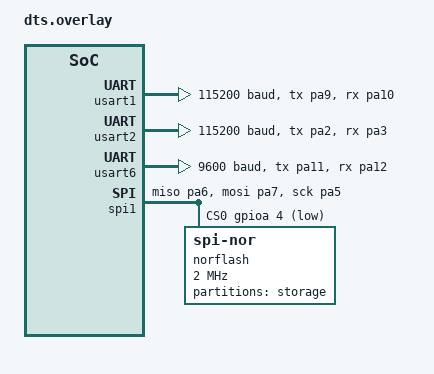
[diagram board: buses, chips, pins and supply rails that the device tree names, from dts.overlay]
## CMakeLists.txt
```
cmake_minimum_required(VERSION 3.13.1)

set(DTS_ROOT ${CMAKE_CURRENT_LIST_DIR})
set(DTC_OVERLAY_FILE ${CMAKE_CURRENT_LIST_DIR}/dts.overlay)

find_package(Zephyr REQUIRED HINTS $ENV{ZEPHYR_BASE})
project(camerapantilt)

target_sources(app PRIVATE src/main.c
                           src/grbl.c
                           src/visca.c
                           src/settings.c)
```

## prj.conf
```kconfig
CONFIG_SYS_CLOCK_TICKS_PER_SEC=10000
CONFIG_FPU=y
CONFIG_NEWLIB_LIBC=y
CONFIG_HEAP_MEM_POOL_SIZE=2048
CONFIG_REBOOT=y

CONFIG_SPI=y
CONFIG_GPIO=y

CONFIG_SHELL=y
CONFIG_SHELL_LOG_BACKEND=y
CONFIG_UART_SHELL_ON_DEV_NAME="UART_2"
CONFIG_LOG=y
CONFIG_LOG2_MODE_DEFERRED=y

CONFIG_MPU_ALLOW_FLASH_WRITE=y
CONFIG_FLASH=y
CONFIG_FLASH_MAP=y
CONFIG_NVS=y
CONFIG_SPI_NOR=y
CONFIG_SPI_NOR_FLASH_LAYOUT_PAGE_SIZE=4096
CONFIG_SPI_NOR_SFDP_MINIMAL=y
#CONFIG_SETTINGS=y
#CONFIG_SETTINGS_NVS=y
```

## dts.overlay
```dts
/ {
	chosen {
		zephyr,console = &usart2;
		zephyr,shell-uart = &usart2;
		zephyr,code-partition=&main_partition;
		zephyr,storage-partition=&scratch_partition;
	};
};

&usart1 {
	pinctrl-0 = <&usart1_tx_pa9 &usart1_rx_pa10>;
	current-speed = <115200>;
	/delete-property/ hw-flow-control;
	status = "okay";
};

&usart2 {
	pinctrl-0 = <&usart2_tx_pa2 &usart2_rx_pa3>;
	current-speed = <115200>;
	/delete-property/ hw-flow-control;
	status = "okay";
};

&usart6{
	pinctrl-0 = <&usart6_tx_pa11 &usart6_rx_pa12>;
	current-speed = <9600>;
	/delete-property/ hw-flow-control;
	status = "okay";
};

&flash0 {
	/delete-property/ partitions;
	partitions {
		compatible = "fixed-partitions";
		#address-cells = <1>;
		#size-cells = <1>;

		main_partition: partition@0 {
			label = "mainpart";
			reg = <0x00000000 0x00080000>;
			read-only;
		};
	};
};

&spi1 {
	pinctrl-0 = <&spi1_miso_pa6 &spi1_mosi_pa7 &spi1_sck_pa5>;
	status = "okay";
	cs-gpios = <&gpioa 4 GPIO_ACTIVE_LOW>;

	norflash: norflash@0 {
		status = "okay";
		compatible = "jedec,spi-nor";
		reg = <0>;
		label = "norflash";
		spi-max-frequency = <2000000>;
		size = <33554432>;
		jedec-id = [BF 25 4A];
		has-lock = <0xFF>;
	};
};


&norflash {
	partitions {
		compatible = "fixed-partitions";
		#address-cells = <1>;
		#size-cells = <1>;
		storage_partition: partition@0 {
			label = "storage";
			reg = <0x0 0x3D0900>;
		};
	};
};
```

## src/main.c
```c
/*
 * camera pantilt controller
 *
 * Copyright (c) Thomas Schmid, 2021
 *
 * Authors:
 *  Thomas Schmid <tom@lfence.de>
 *
 * This work is licensed under the terms of the GNU GPL, version 3.  See
 * the LICENSE file in the top-level directory.
 */

#include <zephyr.h>
#include <logging/log.h>
#include <drivers/uart.h>
#include <sys/ring_buffer.h>
#include <settings/settings.h>
#include "visca.h"
#include "grbl.h"
#include "math.h"
#include "settings.h"

RING_BUF_DECLARE(visca_rxbuf, 64);

K_FIFO_DEFINE(visca_cmd_fifo);
LOG_MODULE_REGISTER(camerapantilt, CONFIG_LOG_DEFAULT_LEVEL);

enum visca_parser_state {
	WAIT_FOR_ADDR,
	READ_DATA,
	READ_ENDFRAME,
};

static enum visca_parser_state parser_state = WAIT_FOR_ADDR;
static struct visca_packet_raw received_packet;
static bool jog_active;
static int pan_speed, tilt_speed;
static float xstep, ystep;
static char cmd_buffer[128];

const struct SettingData defaultSetting = { .pos = { .x = 0, .y = 0, .z = 0 } };

struct SettingData currentSetting;

void visca_uart_irq_rx(const struct device *dev)
{
	uint8_t *buffer;
	uint32_t bsize =
		ring_buf_put_claim(&visca_rxbuf, &buffer, visca_rxbuf.size);
	int rsize = uart_fifo_read(dev, buffer, bsize);
	ring_buf_put_finish(&visca_rxbuf, rsize);
	uint32_t numreceived = ring_buf_capacity_get(&visca_rxbuf) -
			       ring_buf_space_get(&visca_rxbuf);

	for (int i = 0; i < numreceived; i++) {
		if (parser_state == WAIT_FOR_ADDR) {
			ring_buf_get(&visca_rxbuf, &received_packet.addr, 1);
			if (received_packet.addr < 0x81 ||
			    received_packet.addr > 0x88) {
				continue;
			}
			parser_state = READ_DATA;
			received_packet.length = 0;
			continue;
		}

		if (parser_state == READ_DATA) {
			uint8_t data;
			ring_buf_get(&visca_rxbuf, &data, 1);

			if (data == 0xFF) {
				parser_state = WAIT_FOR_ADDR;
				struct visca_command *visca_cmd =
					k_malloc(sizeof(struct visca_command));

				if (visca_cmd == NULL) {
					LOG_ERR("out of memory. Dropping packets");
					continue;
				}

				if (visca_raw_packet_to_command(
					    &received_packet, visca_cmd) != 0) {
					LOG_INF("unable to parse visca command");
					k_free(visca_cmd);
					continue;
				}

				if (k_fifo_alloc_put(&visca_cmd_fifo,
						     visca_cmd) != 0) {
					LOG_ERR("unable to allocate memory for fifo element");
					k_free(visca_cmd);
				}
				continue;
			}

			received_packet.length++;
			received_packet.data[received_packet.length - 1] = data;
		}
	}
}

void visca_uart_callback(const struct device *dev, void *user_data)
{
	while (uart_irq_update(dev) && uart_irq_is_pending(dev)) {
		if (uart_irq_rx_ready(dev)) {
			visca_uart_irq_rx(dev);
		}
	}
}

void grbl_worker()
{
	bool last_jog = false;

	while (true) {
		if (last_jog != jog_active) {
			if (!jog_active) {
				grbl_send_byte_no_ack(0x85);
			}
			last_jog = jog_active;
		}

		if (jog_active) {
			char jogcmd[64];
			float speed = 0.01;

			snprintk(jogcmd, ARRAY_SIZE(jogcmd),
				 "$J=G91 X%fY%f F%f\n", -ystep * 0.01,
				 -xstep * 0.01, speed);
			grbl_send_command(jogcmd);
		} else {
			k_sleep(K_MSEC(50));
		}
	}
}

void main(void)
{
	const struct device *visca_dev = device_get_binding("UART_6");
	const struct device *grbl_dev = device_get_binding("UART_1");

	if (visca_dev == NULL) {
		LOG_ERR("unable to get uart_device");
		return;
	}

	if (grbl_dev == NULL) {
		LOG_ERR("unable to get grbl serial port");
		return;
	}

	const struct uart_config grbl_uart_config = {
		.baudrate = 115200,
		.data_bits = UART_CFG_DATA_BITS_8,
		.flow_ctrl = UART_CFG_FLOW_CTRL_NONE,
		.parity = UART_CFG_PARITY_NONE,
		.stop_bits = UART_CFG_STOP_BITS_1
	};

	const struct uart_config visa_uart_config = {
		.baudrate = 9600,
		.data_bits = UART_CFG_DATA_BITS_8,
		.flow_ctrl = UART_CFG_FLOW_CTRL_NONE,
		.parity = UART_CFG_PARITY_NONE,
		.stop_bits = UART_CFG_STOP_BITS_1
	};

	if (uart_configure(grbl_dev, &grbl_uart_config) != 0) {
		LOG_ERR("unable to configure uart for grbl");
		return;
	}

	if (uart_configure(visca_dev, &visa_uart_config) != 0) {
		LOG_ERR("unable to configure uart for visca");
		return;
	}

	setting_init();
	memcpy(&currentSetting, &defaultSetting, sizeof(struct SettingData));

	/* Visca serial connection */
	uart_irq_callback_set(visca_dev, visca_uart_callback);
	uart_irq_rx_enable(visca_dev);

	grbl_initialize(grbl_dev);
	grbl_send_command("\r\n\r\n"); /* Wake up grbl */

	LOG_INF("start homing");
	grbl_send_command("$H\n"); /* Run a homing cycle */

	//grbl_send_command("$X\n");
	grbl_send_command("$10=1\n");
	grbl_send_command("$#\n");
	grbl_send_command("G54\n");
	grbl_send_command("G0 X0 Y0\n");

	LOG_INF("ready");
	while (1) {
		struct visca_command *cmd =
			k_fifo_get(&visca_cmd_fifo, K_FOREVER);
		LOG_INF("received visca packet");
		if (cmd == NULL) {
			goto OUT;
		}

		if (cmd->cmd == PTD_ABS || cmd->cmd == PTD_REL) {
			if (jog_active) {
				jog_active = false;
				k_sleep(K_MSEC(
					100)); // wait some time to make sure jog is aborted
			}

			if (cmd->cmd == PTD_ABS) {
				grbl_send_command(
					"G90\n"); /* asolute position mode */
			} else {
				grbl_send_command(
					"G91\n"); /* relative position mode */
			}

			snprintk(cmd_buffer, ARRAY_SIZE(cmd_buffer),
				 "G0 X%fY%f\n",
				 cmd->payload.ptd_abs_motion.pan_pos / 1000.0,
				 cmd->payload.ptd_abs_motion.tilt_pos / 1000.0);

			grbl_send_command(cmd_buffer);
			goto OUT;
		}

		/* Check if jog command */
		if (cmd->cmd == PTD_DOWN || cmd->cmd == PTD_DOWNLEFT ||
		    cmd->cmd == PTD_DOWNRIGHT || cmd->cmd == PTD_UP ||
		    cmd->cmd == PTD_UPLEFT || cmd->cmd == PTD_UPRIGHT ||
		    cmd->cmd == PTD_LEFT || cmd->cmd == PTD_RIGHT ||
		    cmd->cmd == PTD_STOP) {
			pan_speed = cmd->payload.ptd_jog_motion.pan_speed;
			tilt_speed = cmd->payload.ptd_jog_motion.titlt_speed;

			if (cmd->cmd != PTD_STOP) {
				jog_active = true;
			} else {
				jog_active = false;
				grbl_send_byte_no_ack(0x85);
			}

			switch (cmd->cmd) {
			case PTD_UP:
				xstep = 0;
				ystep = 1;
				break;
			case PTD_DOWN:
				xstep = 0;
				ystep = -1;
				break;
			case PTD_LEFT:
				xstep = -1;
				ystep = 0;
				break;
			case PTD_RIGHT:
				xstep = 1;
				ystep = 0;
				break;
			case PTD_UPLEFT:
				xstep = -1;
				ystep = 1;
				break;
			case PTD_UPRIGHT:
				xstep = 1;
				ystep = 1;
				break;
			case PTD_DOWNLEFT:
				xstep = -1;
				ystep = -1;
				break;
			case PTD_DOWNRIGHT:
				xstep = 1;
				ystep = -1;
				break;
			default:
				xstep = 0;
				ystep = 0;
				break;
			}
		}

		if (cmd->cmd == PTD_HOME) {
			grbl_send_command("$H\n");
			goto OUT;
		}

		if (cmd->cmd == PTD_RESET) {
			grbl_send_command("$X\n");
			goto OUT;
		}

		if (cmd->cmd == CAM_MEMORY_RECALL) {
			LOG_INF("memory recall");
			currentSetting.pos = grbl_get_state().pos_act;
			setting_get(cmd->payload.cam_memory.memory_slot,
				    &currentSetting);
			//grbl_send_command(cmd_buffer);
			goto OUT;
		}

		if (cmd->cmd == CAM_MEMORY_SET) {
			LOG_INF("memory set");
			currentSetting.pos = grbl_get_state().pos_act;
			setting_set(cmd->payload.cam_memory.memory_slot,
				    &currentSetting);
		}

	OUT:
		k_free(cmd);
	}
}

K_THREAD_DEFINE(grbl_worker_thread, 1024, grbl_worker, NULL, NULL, NULL, -1, 0,
		0);
```

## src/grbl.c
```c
#include "grbl.h"
#include "zephyr.h"
#include <string.h>
#include <logging/log.h>
#include <drivers/uart.h>
#include <sys/ring_buffer.h>
#include <stdlib.h>

LOG_MODULE_REGISTER(grbl, CONFIG_LOG_DEFAULT_LEVEL);

RING_BUF_DECLARE(grbl_tx_buf, 512);
RING_BUF_DECLARE(grbl_rx_buf, 512);

K_FIFO_DEFINE(grbl_cmd_fifo);
K_FIFO_DEFINE(grbl_receive_fifo);

K_CONDVAR_DEFINE(grbl_new_response_condvar);
K_MUTEX_DEFINE(grbl_cmd_mutex);

K_THREAD_STACK_DEFINE(grbl_receive_stack, 2048);

/* This timer sends a regular status report realtime command to grbl */
static void grbl_report_timer_expr(struct k_timer *dummy);
K_TIMER_DEFINE(report_timer, grbl_report_timer_expr, NULL);

static const struct device *grbl_dev;
struct k_thread grbl_receive_thread_data;

struct WorkOffset {
	int wco_num;
	struct Position offset;
};

struct GrblState currentState = { 0 };

static struct WorkOffset workOffsets[5] = { 0 };

enum grbl_message {
	GRBL_OK,
	GRBL_REPORT,
	GRBL_ERROR,
	GRBL_ALARM,
	GRBL_FEEDBACK,
	GRBL_SETTINGS,
	GRBL_STARTUP_EXEC,
	GRBL_WELCOME,
	GRBL_INVALID
};

static const char *const msg_prefix[] = {
	[GRBL_OK] = "ok",	   [GRBL_REPORT] = "<",
	[GRBL_ERROR] = "error:",   [GRBL_ALARM] = "Alarm:",
	[GRBL_FEEDBACK] = "[",	   [GRBL_SETTINGS] = "$",
	[GRBL_STARTUP_EXEC] = ">", [GRBL_WELCOME] = "Grbl"
};

static const char *const state_str[] = {
	[GRBL_STATE_IDLE] = "Idle",   [GRBL_STATE_RUN] = "Run",
	[GRBL_STATE_HOLD] = "Hold",   [GRBL_STATE_JOG] = "Jog",
	[GRBL_STATE_ALARM] = "Alarm", [GRBL_STATE_DOOR] = "Door",
	[GRBL_STATE_CHECK] = "Check", [GRBL_STATE_HOME] = "Home",
	[GRBL_STATE_SLEEP] = "Sleep"
};

static void grbl_uart_irq_tx(const struct device *dev)
{
	uint8_t *data_start;
	uint32_t bsend = 0;
	uint32_t bsize = ring_buf_get_claim(&grbl_tx_buf, &data_start, 512);

	if (bsize == 0) {
		uart_irq_tx_disable(dev);
	} else {
		bsend = uart_fifo_fill(dev, data_start, bsize);
	}
	ring_buf_get_finish(&grbl_tx_buf, bsend);
}

static void parse_position(const char *msg, float *x, float *y, float *z)
{
	char *endPtr;
	*x = strtof(msg, &endPtr);
	*y = strtof(endPtr + 1, &endPtr);
	*z = strtof(endPtr + 1, NULL);
}

static void grbl_uart_irq_rx(const struct device *dev)
{
	uint8_t *buffer;
	static char line_buffer[128] = { 0 };
	static uint8_t line_buffer_pos = 0;

	uint32_t bsize = ring_buf_put_claim(&grbl_rx_buf, &buffer, 512);
	int rsize = uart_fifo_read(dev, buffer, bsize);
	ring_buf_put_finish(&grbl_rx_buf, rsize);

	uint32_t numreceived = ring_buf_get_claim(&grbl_rx_buf, &buffer, 512);

	int i = 0;
	for (i = 0; i < numreceived; i++) {
		line_buffer[line_buffer_pos] = buffer[i];
		line_buffer_pos++;

		if (line_buffer_pos >= ARRAY_SIZE(line_buffer)) {
			line_buffer_pos = 0;
		}

		if (buffer[i] == '\n') {
			char *line = k_malloc(line_buffer_pos);

			if (line == NULL) {
				LOG_ERR("unable to allocate memory");
			} else {
				memcpy(line, line_buffer,
				       line_buffer_pos -
					       2); // remove trailing newline
				memset(line_buffer, 0, ARRAY_SIZE(line_buffer));
				line[line_buffer_pos - 2] = 0;
				line_buffer_pos = 0;

				k_fifo_put(&grbl_receive_fifo, line);
			}
		}
	}

	ring_buf_get_finish(&grbl_rx_buf, numreceived);
}

void grbl_uart_callback(const struct device *dev, void *user_data)
{
	while (uart_irq_update(dev) && uart_irq_is_pending(dev)) {
		if (uart_irq_rx_ready(dev)) {
			grbl_uart_irq_rx(dev);
		}

		if (uart_irq_tx_ready(dev)) {
			grbl_uart_irq_tx(dev);
		}
	}
}

static enum grbl_message detect_response_type(const char *response)
{
	uint32_t response_len = strlen(response);

	for (int i = 0; i < ARRAY_SIZE(msg_prefix); i++) {
		int prefix_len = strlen(msg_prefix[i]);

		if (prefix_len > response_len) {
			prefix_len = response_len;
		}

		if (strncmp(response, msg_prefix[i], prefix_len) == 0) {
			return (enum grbl_message)i;
		}
	}

	return GRBL_INVALID;
}

static enum GrblCtrlState parse_ctrl_state(const char *state)
{
	size_t response_len = strlen(state);
	for (int i = 0; i < ARRAY_SIZE(state_str); i++) {
		int prefix_len = strlen(msg_prefix[i]);

		if (prefix_len > response_len) {
			prefix_len = response_len;
		}

		if (strncmp(state, msg_prefix[i], prefix_len) == 0) {
			return (enum GrblCtrlState)i;
		}
	}

	return 0;
}

const char *grbl_state_to_str(enum GrblCtrlState state)
{
	return state_str[(int)state];
}

static void parse_work_offsets(const char *msg)
{
	char prefix[6] = { 0 };
	for (int i = 0; i < 5; i++) {
		snprintk(prefix, ARRAY_SIZE(prefix), "[G5%d:", i + 4);

		if (strncmp(msg, prefix, 5) != 0) {
			continue;
		}

		parse_position(msg + 5, &workOffsets[i].offset.x,
			       &workOffsets[i].offset.y,
			       &workOffsets[i].offset.z);
	}
}

static void parse_report(const char *msg)
{
	char *seperator;
	char *data_start = strchr(msg, '|');

	if (data_start == NULL) {
		return;
	}

	data_start++;

	currentState.state = parse_ctrl_state(msg + 1);

	while (true) {
		seperator = strchr(data_start, ':');

		if (seperator == NULL) {
			return;
		}

		if (strncmp(data_start, "MPos", 4) == 0) {
			parse_position(seperator + 1, &currentState.pos_act.x,
				       &currentState.pos_act.y,
				       &currentState.pos_act.z);
		}

		data_start = strchr(seperator + 1, '|');

		if (data_start == NULL) {
			return;
		}
	}
}

static void grbl_receive_worker()
{
	while (true) {
		char *msg = k_fifo_get(&grbl_receive_fifo, K_FOREVER);
		enum grbl_message resp_type = detect_response_type(msg);
		// LOG_INF("%s", msg);
		switch (resp_type) {
		case GRBL_OK:
		case GRBL_ERROR:
			k_mutex_lock(&grbl_cmd_mutex, K_FOREVER);
			k_condvar_signal(&grbl_new_response_condvar);
			k_mutex_unlock(&grbl_cmd_mutex);
			break;
		case GRBL_WELCOME:
			break;
		case GRBL_ALARM:
			break;
		case GRBL_REPORT:
			parse_report(msg);
			break;
		case GRBL_SETTINGS:
			break;
		case GRBL_STARTUP_EXEC:
			break;
		case GRBL_FEEDBACK:
			parse_work_offsets(msg);
			break;
		case GRBL_INVALID:
		default:

			break;
		}

		k_free(msg);
	}
}

int grbl_send_command(const char *msg)
{
	LOG_INF("%s", msg);
	k_mutex_lock(&grbl_cmd_mutex, K_FOREVER);
	ring_buf_put(&grbl_tx_buf, msg, strlen(msg));
	uart_irq_tx_enable(grbl_dev);
	k_condvar_wait(&grbl_new_response_condvar, &grbl_cmd_mutex, K_FOREVER);
	k_mutex_unlock(&grbl_cmd_mutex);
	return 0;
}

int grbl_send_byte_no_ack(uint8_t payload)
{
	ring_buf_put(&grbl_tx_buf, &payload, 1);
	uart_irq_tx_enable(grbl_dev);
	return 0;
}

struct GrblState grbl_get_state()
{
	return currentState;
}

static void grbl_report_timer_expr(struct k_timer *dummy)
{
	grbl_send_byte_no_ack('?');
}

int grbl_initialize(const struct device *uart)
{
	grbl_dev = uart;

	uart_irq_callback_set(grbl_dev, grbl_uart_callback);
	uart_irq_rx_enable(grbl_dev);

	k_thread_create(&grbl_receive_thread_data, grbl_receive_stack,
			K_THREAD_STACK_SIZEOF(grbl_receive_stack),
			grbl_receive_worker, NULL, NULL, NULL, -1, 0,
			K_NO_WAIT);

	k_timer_start(&report_timer, K_NO_WAIT, K_SECONDS(1));
	return 0;
}
```

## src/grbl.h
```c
#ifndef CAMPANTILT__GRBL__H
#define CAMPANTILT__GRBL__H

#include <stdint.h>
#include <device.h>

struct Position {
	float x, y, z;
};

enum GrblCtrlState {
	GRBL_STATE_IDLE,
	GRBL_STATE_RUN,
	GRBL_STATE_HOLD,
	GRBL_STATE_JOG,
	GRBL_STATE_ALARM,
	GRBL_STATE_DOOR,
	GRBL_STATE_CHECK,
	GRBL_STATE_HOME,
	GRBL_STATE_SLEEP
};

struct GrblState {
	char state;
	struct Position pos_act;
};

int grbl_send_command(const char *msg);
int grbl_send_byte_no_ack(uint8_t payload);
int grbl_initialize(const struct device *uart);
struct GrblState grbl_get_state();

#endif
```

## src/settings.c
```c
#include "settings.h"
#include "logging/log.h"
#include <zephyr.h>
#include <stdlib.h>
#include "grbl.h"
#include <drivers/flash.h>
#include <storage/flash_map.h>
#include <fs/nvs.h>
#include <device.h>

static struct nvs_fs fs;

#define STORAGE_NODE DT_NODE_BY_FIXED_PARTITION_LABEL(storage)
#define FLASH_NODE DT_MTD_FROM_FIXED_PARTITION(STORAGE_NODE)

LOG_MODULE_REGISTER(cam_settings, CONFIG_LOG_DEFAULT_LEVEL);

static uint8_t flash_page[4096] = { 0xFF };
static struct SettingData settings[9] = { 0 };
static struct SettingData current_setting;

// static int cam_memory_handle_set(const char *name, size_t len, settings_read_cb read_cb, void *cb_arg)
// {
//     int rc;
//     LOG_INF("memory handle set");

//     if (len != sizeof(struct SettingData)) {
//         LOG_ERR("setting wrong size");
//         return -EINVAL;
//     }

//     rc = read_cb(cb_arg, &current_setting, sizeof(struct SettingData));
//     LOG_INF("read setting: %f %f %f", current_setting.pos.x, current_setting.pos.y, current_setting.pos.z);

//     if (rc > 0) {
//         return 0;
//     }

//     LOG_ERR("unable to read");
//     return rc;
// }

// struct settings_handler cam_memory_handler = {
//     .name = "cam",
//     .h_set = cam_memory_handle_set,
// };

// static int get_key(uint8_t reg_num, char *key, size_t size)
// {
//     if (reg_num < 0 || reg_num > 9){
//         return -EINVAL;
//     }

//     snprintk(key, size, "cam/%d", reg_num);
//     return 0;
// }

int setting_get(uint8_t reg_num, struct SettingData *data)
{
	int rc;
	LOG_INF("load setting");
	char *cmd[64];

	if (reg_num >= 0 && reg_num < 6) {
		snprintk(cmd, ARRAY_SIZE(cmd), "G5%d\n", reg_num + 4);
		grbl_send_command(cmd);
		grbl_send_command("G0 X0 Y0\n");
	} else if (reg_num == 6) {
		grbl_send_command("G28\n");
	} else if (reg_num == 7) {
		grbl_send_command("G30\n");
	}

	if (rc < 0) {
		LOG_ERR("unable to read setting. rc: %d", rc);
		return rc;
	}

	memcpy(data, &current_setting, sizeof(struct SettingData));
	return 0;
}

int setting_set(uint8_t reg_num, struct SettingData *data)
{
	char *cmd[64];

	int rc = 0;

	if (reg_num >= 0 && reg_num < 6) {
		snprintk(cmd, ARRAY_SIZE(cmd), "G10 L2 P%d X%f Y%f\n",
			 reg_num + 1, data->pos.x, data->pos.y);
		grbl_send_command(cmd);
	} else if (reg_num == 6) {
		grbl_send_command("G28.1\n");
	} else if (reg_num == 7) {
		grbl_send_command("G30.1\n");
	}

	return rc;
}

void setting_init()
{
	int rc = 0;
	struct flash_pages_info info;
	const struct device *flash_dev;

	/* define the nvs file system by settings with:
	 *	sector_size equal to the pagesize,
	 *	3 sectors
	 *	starting at FLASH_AREA_OFFSET(storage)
	 */
	flash_dev = DEVICE_DT_GET(FLASH_NODE);
	if (!device_is_ready(flash_dev)) {
		LOG_ERR("Flash device %s is not ready\n", flash_dev->name);
		return;
	}
	fs.offset = FLASH_AREA_OFFSET(storage);
	rc = flash_get_page_info_by_offs(flash_dev, fs.offset, &info);
	if (rc) {
		LOG_ERR("Unable to get page info\n");
		return;
	}
	fs.sector_size = info.size;
	fs.sector_count = 8U;

	//rc = nvs_init(&fs, flash_dev->name);
	//if (rc) {
	//	LOG_ERR("Flash Init failed\n");
	//	return;
	//}
}
```

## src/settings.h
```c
#ifndef CAMPANTILT__SETTINGS__H
#define CAMPANTILT__SETTINGS__H

#include "grbl.h"

struct SettingData {
	struct Position pos;
};

int setting_get(uint8_t reg_num, struct SettingData *data);
int setting_set(uint8_t reg_num, struct SettingData *data);
void setting_init();

#endif
```

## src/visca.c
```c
#include "visca.h"
#include "logging/log.h"

LOG_MODULE_REGISTER(visca, CONFIG_LOG_DEFAULT_LEVEL);

static uint16_t get_pos(struct visca_packet_raw *raw_packet, int offset)
{
	uint16_t pos = 0;

	for (int i = 0; i < 4; i++) {
		pos += raw_packet->data[offset + 3 - i] << i;
	}

	return pos;
}

int visca_raw_packet_to_command(struct visca_packet_raw *raw_packet,
				struct visca_command *cmd)
{
	/* Pan Tilt Jog Command */
	if (raw_packet->length == 7 && raw_packet->data[0] == 0x01 &&
	    raw_packet->data[1] == 0x06 && raw_packet->data[2] == 0x01) {
		/* Jog commands */
		if (raw_packet->data[2] == 1) {
			uint16_t id = (raw_packet->data[6] << 8) +
				      raw_packet->data[5];
			switch (id) {
			case 0x0101:
				cmd->cmd = PTD_UPLEFT;
				break;

			case 0x0102:
				cmd->cmd = PTD_DOWNLEFT;
				break;

			case 0x0103:
				cmd->cmd = PTD_LEFT;
				break;

			case 0x0201:
				cmd->cmd = PTD_UPRIGHT;
				break;

			case 0x0202:
				cmd->cmd = PTD_DOWNRIGHT;
				break;

			case 0x0203:
				cmd->cmd = PTD_RIGHT;
				break;

			case 0x0301:
				cmd->cmd = PTD_UP;
				break;

			case 0x0302:
				cmd->cmd = PTD_DOWN;
				break;

			case 0x0303:
				cmd->cmd = PTD_STOP;
				break;

			default:
				return -1;
				break;
			}

			cmd->payload.ptd_jog_motion.pan_speed =
				raw_packet->data[3];
			cmd->payload.ptd_jog_motion.titlt_speed =
				raw_packet->data[4];
			return 0;
		}
	}

	/* Pan Tilt Position Command */
	if (raw_packet->length == 13 &&
	    (raw_packet->data[2] == 0x02 || raw_packet->data[2] == 0x03)) {
		/* Abs Positionig command */
		if (raw_packet->data[2] == 0x02) {
			cmd->cmd = PTD_ABS;
			cmd->payload.ptd_abs_motion.pan_pos =
				get_pos(raw_packet, 5);
			cmd->payload.ptd_abs_motion.tilt_pos =
				get_pos(raw_packet, 9);
			cmd->payload.ptd_abs_motion.pan_speed =
				raw_packet->data[3];
			cmd->payload.ptd_abs_motion.titlt_speed =
				raw_packet->data[4];
			return 0;
		}

		/* Rel Positionig command */
		if (raw_packet->data[2] == 0x03) {
			cmd->cmd = PTD_REL;
			cmd->payload.ptd_rel_motion.pan_pos =
				get_pos(raw_packet, 5);
			cmd->payload.ptd_rel_motion.tilt_pos =
				get_pos(raw_packet, 9);
			cmd->payload.ptd_rel_motion.pan_speed =
				raw_packet->data[3];
			cmd->payload.ptd_rel_motion.titlt_speed =
				raw_packet->data[4];
			return 0;
		}
	}

	if (raw_packet->length == 3 && raw_packet->data[0] == 0x01 &&
	    raw_packet->data[1] == 0x06) {
		if (raw_packet->data[2] == 0x04) {
			cmd->cmd = PTD_HOME;
			return 0;
		}

		if (raw_packet->data[2] == 0x05) {
			cmd->cmd = PTD_RESET;
			return 0;
		}
	}

	if (raw_packet->length == 5 && raw_packet->data[0] == 0x01 &&
	    raw_packet->data[1] == 0x04 && raw_packet->data[2] == 0x3f &&
	    raw_packet->data[3] == 0x01) {
		cmd->cmd = CAM_MEMORY_SET;
		cmd->payload.cam_memory.memory_slot = raw_packet->data[4];
		return 0;
	}

	if (raw_packet->length == 5 && raw_packet->data[0] == 0x01 &&
	    raw_packet->data[1] == 0x04 && raw_packet->data[2] == 0x3f &&
	    raw_packet->data[3] == 0x02) {
		cmd->cmd = CAM_MEMORY_RECALL;
		cmd->payload.cam_memory.memory_slot = raw_packet->data[4];
		return 0;
	}

	return -1;
}
```

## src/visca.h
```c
#include <stdint.h>

enum visca_commands {
	PTD_UP,
	PTD_DOWN,
	PTD_LEFT,
	PTD_RIGHT,
	PTD_UPLEFT,
	PTD_UPRIGHT,
	PTD_DOWNLEFT,
	PTD_DOWNRIGHT,
	PTD_STOP,
	PTD_ABS,
	PTD_REL,
	PTD_HOME,
	PTD_RESET,
	CAM_MEMORY_SET,
	CAM_MEMORY_RECALL
};

struct visca_packet_raw {
	uint8_t addr;
	uint8_t length;
	uint8_t data[14];
};

struct visca_ptd_jog_motion {
	uint8_t pan_speed;
	uint8_t titlt_speed;
} __attribute__((packed));

struct visca_ptd_abs_rel_motion {
	uint8_t pan_speed;
	uint8_t titlt_speed;
	uint32_t pan_pos;
	uint32_t tilt_pos;
} __attribute__((packed));

struct visca_cam_memory {
	uint8_t memory_slot;
} __attribute__((packed));

struct visca_command {
	enum visca_commands cmd;
	union {
		struct visca_ptd_jog_motion ptd_jog_motion;
		struct visca_ptd_abs_rel_motion ptd_abs_motion;
		struct visca_ptd_abs_rel_motion ptd_rel_motion;
		struct visca_cam_memory cam_memory;
	} payload;
};

int visca_raw_packet_to_command(struct visca_packet_raw *raw_packet,
				struct visca_command *cmd);
```
